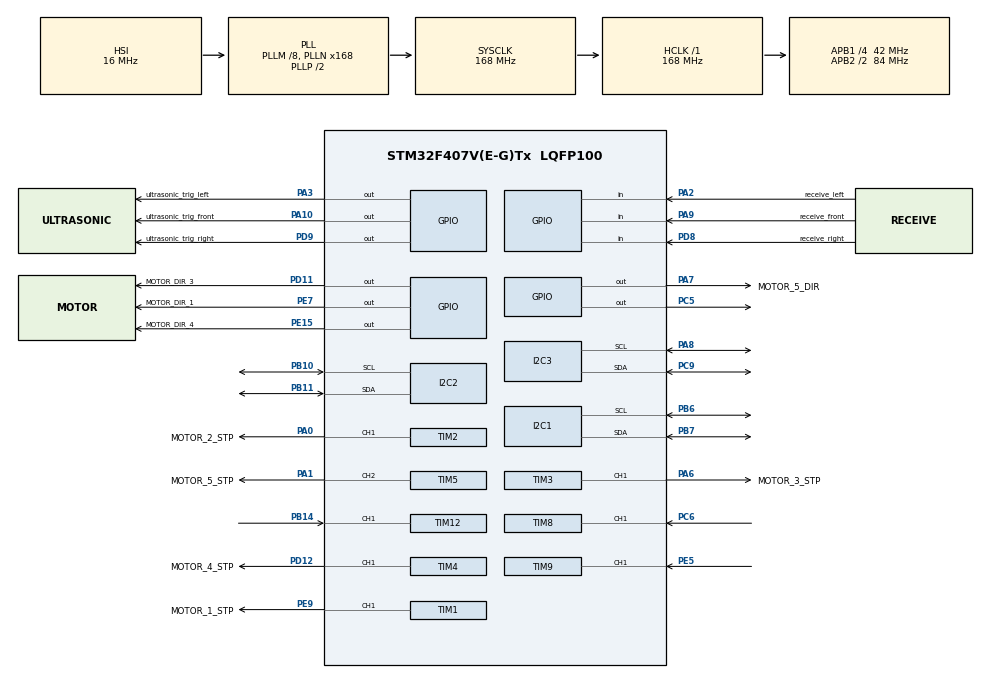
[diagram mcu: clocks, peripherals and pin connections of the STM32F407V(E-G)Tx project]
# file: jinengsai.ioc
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Mcu.Family=STM32F4
Mcu.Name=STM32F407V(E-G)Tx
Mcu.Package=LQFP100
NVIC.PriorityGroup=NVIC_PRIORITYGROUP_4
NVIC.TIM5_IRQn=true\:0\:0\:true\:false\:true\:true\:true\:true
NVIC.TIM6_DAC_IRQn=true\:0\:0\:true\:false\:true\:true\:true\:true
NVIC.TIM7_IRQn=true\:0\:0\:true\:false\:true\:true\:true\:true
PA0-WKUP.GPIO_Label=MOTOR_2_STP
PA0-WKUP.Signal=S_TIM2_CH1_ETR
PA1.GPIO_Label=MOTOR_5_STP
PA1.Signal=S_TIM5_CH2
PA10.GPIO_Label=ultrasonic_trig_front
PA10.Signal=GPIO_Output
PA13.Mode=Serial_Wire
PA13.Signal=SYS_JTMS-SWDIO
PA14.Mode=Serial_Wire
PA14.Signal=SYS_JTCK-SWCLK
PA2.GPIO_Label=receive_left
PA2.Signal=GPIO_Input
PA3.GPIO_Label=ultrasonic_trig_left
PA3.Signal=GPIO_Output
PA6.GPIO_Label=MOTOR_3_STP
PA6.Signal=S_TIM3_CH1
PA7.GPIO_Label=MOTOR_5_DIR
PA7.Signal=GPIO_Output
PA8.Mode=I2C
PA8.Signal=I2C3_SCL
PA9.GPIO_Label=receive_front
PA9.Signal=GPIO_Input
PB10.Mode=I2C
PB10.Signal=I2C2_SCL
PB11.Mode=I2C
PB11.Signal=I2C2_SDA
PB14.Signal=S_TIM12_CH1
PB6.Mode=I2C
PB6.Signal=I2C1_SCL
PB7.Mode=I2C
PB7.Signal=I2C1_SDA
PC5.Signal=GPIO_Output
PC6.Signal=S_TIM8_CH1
PC9.Mode=I2C
PC9.Signal=I2C3_SDA
PD11.GPIO_Label=MOTOR_DIR_3
PD11.Signal=GPIO_Output
PD12.GPIO_Label=MOTOR_4_STP
PD12.Signal=S_TIM4_CH1
PD8.GPIO_Label=receive_right
PD8.Signal=GPIO_Input
PD9.GPIO_Label=ultrasonic_trig_right
PD9.Signal=GPIO_Output
PE15.GPIO_Label=MOTOR_DIR_4
PE15.Signal=GPIO_Output
PE5.Signal=S_TIM9_CH1
PE7.GPIO_Label=MOTOR_DIR_1
PE7.Signal=GPIO_Output
PE9.GPIO_Label=MOTOR_1_STP
PE9.Signal=S_TIM1_CH1
ProjectManager.HeapSize=0x200
ProjectManager.StackSize=0x200
ProjectManager.TargetToolchain=MDK-ARM V5.32
RCC.48MHZClocksFreq_Value=84000000
RCC.AHBFreq_Value=168000000
RCC.APB1CLKDivider=RCC_HCLK_DIV4
RCC.APB1Freq_Value=42000000
RCC.APB1TimFreq_Value=84000000
RCC.APB2CLKDivider=RCC_HCLK_DIV2
RCC.APB2Freq_Value=84000000
RCC.APB2TimFreq_Value=168000000
RCC.CortexFreq_Value=168000000
RCC.HCLKFreq_Value=168000000
RCC.HSE_VALUE=25000000
RCC.HSI_VALUE=16000000
RCC.LSE_VALUE=32768
RCC.PLLM=8
RCC.PLLN=168
RCC.SYSCLKFreq_VALUE=168000000
RCC.SYSCLKSource=RCC_SYSCLKSOURCE_PLLCLK
RCC.VCOOutputFreq_Value=336000000
SH.S_TIM12_CH1.0=TIM12_CH1,Input_Capture1_from_TI1
SH.S_TIM1_CH1.0=TIM1_CH1,PWM Generation1 CH1
SH.S_TIM2_CH1_ETR.0=TIM2_CH1,PWM Generation1 CH1
SH.S_TIM3_CH1.0=TIM3_CH1,PWM Generation1 CH1
SH.S_TIM4_CH1.0=TIM4_CH1,PWM Generation1 CH1
SH.S_TIM5_CH2.0=TIM5_CH2,PWM Generation2 CH2
SH.S_TIM8_CH1.0=TIM8_CH1,Input_Capture1_from_TI1
SH.S_TIM9_CH1.0=TIM9_CH1,Input_Capture1_from_TI1
TIM1.Channel-PWM\ Generation1\ CH1=TIM_CHANNEL_1
TIM1.Period=100-1
TIM1.Prescaler=168-1
TIM12.AutoReloadPreload=TIM_AUTORELOAD_PRELOAD_ENABLE
TIM12.Channel-Input_Capture1_from_TI1=TIM_CHANNEL_1
TIM12.Channel-Input_Capture2_from_TI1_63=TIM_CHANNEL_2
TIM12.ICPolarity_CH2=TIM_INPUTCHANNELPOLARITY_FALLING
TIM12.Prescaler=84-1
TIM2.Channel-PWM\ Generation1\ CH1=TIM_CHANNEL_1
TIM2.Period=100-1
TIM2.Prescaler=84-1
TIM3.Channel-PWM\ Generation1\ CH1=TIM_CHANNEL_1
TIM3.Period=100-1
TIM3.Prescaler=84-1
TIM4.Channel-PWM\ Generation1\ CH1=TIM_CHANNEL_1
TIM4.Period=100-1
TIM4.Prescaler=84-1
TIM5.Channel-PWM\ Generation2\ CH2=TIM_CHANNEL_2
TIM5.Period=100-1
TIM5.Prescaler=84-1
TIM6.Period=10000-1
TIM6.Prescaler=84-1
TIM7.Prescaler=84-1
TIM8.AutoReloadPreload=TIM_AUTORELOAD_PRELOAD_ENABLE
TIM8.Channel-Input_Capture1_from_TI1=TIM_CHANNEL_1
TIM8.Channel-Input_Capture2_from_TI1_63=TIM_CHANNEL_2
TIM8.ICPolarity_CH2=TIM_INPUTCHANNELPOLARITY_FALLING
TIM8.Prescaler=168-1
TIM9.AutoReloadPreload=TIM_AUTORELOAD_PRELOAD_ENABLE
TIM9.Channel-Input_Capture1_from_TI1=TIM_CHANNEL_1
TIM9.Channel-Input_Capture2_from_TI1_63=TIM_CHANNEL_2
TIM9.ICPolarity_CH2=TIM_INPUTCHANNELPOLARITY_FALLING
TIM9.Prescaler=168-1
VP_TIM12_VS_ClockSourceINT.Mode=Internal
VP_TIM12_VS_indirect_ch1.Mode=Input_Capture2_from_TI1_63
VP_TIM1_VS_ClockSourceINT.Mode=Internal
VP_TIM2_VS_ClockSourceINT.Mode=Internal
VP_TIM3_VS_ClockSourceINT.Mode=Internal
VP_TIM4_VS_ClockSourceINT.Mode=Internal
VP_TIM5_VS_ClockSourceINT.Mode=Internal
VP_TIM6_VS_ClockSourceINT.Mode=Enable_Timer
VP_TIM7_VS_ClockSourceINT.Mode=Enable_Timer
VP_TIM8_VS_ClockSourceINT.Mode=Internal
VP_TIM8_VS_indirect_ch1.Mode=Input_Capture2_from_TI1_63
VP_TIM9_VS_ClockSourceINT.Mode=Internal
VP_TIM9_VS_indirect_ch1.Mode=Input_Capture2_from_TI1_63
board=custom

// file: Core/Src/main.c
/* USER CODE BEGIN Header */
/**
 ******************************************************************************
 * @file           : main.c
 * @brief          : Main program body
 ******************************************************************************
 * @attention
 *
 * Copyright (c) 2025 STMicroelectronics.
 * All rights reserved.
 *
 * This software is licensed under terms that can be found in the LICENSE file
 * in the root directory of this software component.
 * If no LICENSE file comes with this software, it is provided AS-IS.
 *
 ******************************************************************************
 */
/* USER CODE END Header */
#include "main.h"
#include "i2c.h"
#include "tim.h"
#include "gpio.h"

/* USER CODE BEGIN PD */
extern uint32_t arm_flag;
float ms = 0;
uint32_t wait_finish = 0;
uint32_t wait_flag = 0;
float wait_sec = 0;
uint32_t arm_num = 0;
float test_angle = 3;

uint32_t timer[] = {0, 0, 0, 0};
uint32_t ii = 0;
TIM_HandleTypeDef *htim[] = {&htim1, &htim2, &htim3, &htim4};
uint32_t Stop_flag[] = {};
uint32_t Stop_All_flag = 0;
float Move_Time[] = {0, 0, 0};

unsigned char Digtal;
unsigned int Sensor_Front[] = {0, 0, 0, 0, 0, 0, 0, 0};
unsigned int Sensor_Right[] = {0, 0, 0, 0, 0, 0, 0, 0};
unsigned int Sensor_Left[] = {0, 0, 0, 0, 0, 0, 0, 0};
unsigned char Sensor_Color[] = {0, 0, 0};
unsigned char Anolog[8] = {0};
unsigned char rx_buff[256] = {0};
unsigned char Normal[8] = {0};

enum Trace_Dir Trace_flag = Forward;
uint32_t flag[] = {0, 0, 0, 0};
float time[] = {2, 2, 2, 2};
int get = 0;
float Car_Speed = CARSPEED;

PID_Typedef Car_pid;

extern volatile uint8_t Obs_index_front;
extern volatile uint8_t Obs_index_left;
extern volatile uint8_t Obs_index_right;

extern volatile float Obs_distance_front;
extern volatile float Obs_distance_left;
extern volatile float Obs_distance_right;
extern volatile uint32_t Obs_buff_front;
extern volatile uint32_t Obs_buff_left;
extern volatile uint32_t Obs_buff_right;
extern volatile uint32_t Obs_data_ready;
extern volatile uint32_t Obs_index;

/* USER CODE END PD */

void SystemClock_Config(void);

int main(void)
{

  /* MCU Configuration--------------------------------------------------------*/

  /* Reset of all peripherals, Initializes the Flash interface and the Systick. */
  HAL_Init();

  /* Configure the system clock */
  SystemClock_Config();

  /* USER CODE BEGIN SysInit */
  HAL_Delay(1000);
  /* USER CODE END SysInit */

  /* Initialize all configured peripherals */
  MX_GPIO_Init();
  MX_I2C1_Init();
  MX_TIM1_Init();
  MX_TIM2_Init();
  MX_TIM3_Init();
  MX_TIM4_Init();
  MX_TIM6_Init();
  MX_I2C2_Init();
  MX_I2C3_Init();
  MX_TIM5_Init();
  MX_TIM7_Init();
  MX_TIM8_Init();
  MX_TIM9_Init();
  MX_TIM12_Init();
  /* USER CODE BEGIN 2 */
  PID_Init(&Car_pid, 0.04, 0.002, 0, 0.7);
  HAL_TIM_PWM_Init(&htim1);
  HAL_TIM_PWM_Init(&htim2);
  HAL_TIM_PWM_Init(&htim3);
  HAL_TIM_PWM_Init(&htim4);
  HAL_TIM_PWM_Init(&htim5);

  HAL_TIM_PWM_Start(&htim1, TIM_CHANNEL_1);
  HAL_TIM_PWM_Start(&htim2, TIM_CHANNEL_1);
  HAL_TIM_PWM_Start(&htim3, TIM_CHANNEL_1);
  HAL_TIM_PWM_Start(&htim4, TIM_CHANNEL_1);
  HAL_TIM_PWM_Start(&htim5, TIM_CHANNEL_2);

  HAL_I2C_MspInit(&hi2c1);
  HAL_I2C_MspInit(&hi2c2);

  Ultrasonic_Init();

  HAL_TIM_Base_Start_IT(&htim5);
  HAL_TIM_Base_Start_IT(&htim6);

  /* USER CODE END 2 */

  /* Infinite loop */
  while (1)
  {

    /* USER CODE BEGIN 3 */

    Get_Sensor(Sensor_Front);
    Get_Sensor(Sensor_Right);
    Get_Sensor(Sensor_Left);
    Get_Front_dis();//获取前方向超声波传感器的值，储存在Obs_distance_front
    Get_Left_dis();//获取左边超声波传感器的值，储存在Obs_distance_left
    Get_right_dis();//获取右边超声波传感器的值，储存在Obs_distance_right
    Obstacle_find();
    //Go(0.2,0,0);
    HAL_Delay(30);
  }
  /* USER CODE END 3 */
}

void SystemClock_Config(void)
{
  RCC_OscInitTypeDef RCC_OscInitStruct = {0};
  RCC_ClkInitTypeDef RCC_ClkInitStruct = {0};

  /** Configure the main internal regulator output voltage
  */
  __HAL_RCC_PWR_CLK_ENABLE();
  __HAL_PWR_VOLTAGESCALING_CONFIG(PWR_REGULATOR_VOLTAGE_SCALE1);

  /** Initializes the RCC Oscillators according to the specified parameters
  * in the RCC_OscInitTypeDef structure.
  */
  RCC_OscInitStruct.OscillatorType = RCC_OSCILLATORTYPE_HSI;
  RCC_OscInitStruct.HSIState = RCC_HSI_ON;
  RCC_OscInitStruct.HSICalibrationValue = RCC_HSICALIBRATION_DEFAULT;
  RCC_OscInitStruct.PLL.PLLState = RCC_PLL_ON;
  RCC_OscInitStruct.PLL.PLLSource = RCC_PLLSOURCE_HSI;
  RCC_OscInitStruct.PLL.PLLM = 8;
  RCC_OscInitStruct.PLL.PLLN = 168;
  RCC_OscInitStruct.PLL.PLLP = RCC_PLLP_DIV2;
  RCC_OscInitStruct.PLL.PLLQ = 4;
  if (HAL_RCC_OscConfig(&RCC_OscInitStruct) != HAL_OK)
  {
    Error_Handler();
  }

  /** Initializes the CPU, AHB and APB buses clocks
  */
  RCC_ClkInitStruct.ClockType = RCC_CLOCKTYPE_HCLK|RCC_CLOCKTYPE_SYSCLK
                              |RCC_CLOCKTYPE_PCLK1|RCC_CLOCKTYPE_PCLK2;
  RCC_ClkInitStruct.SYSCLKSource = RCC_SYSCLKSOURCE_PLLCLK;
  RCC_ClkInitStruct.AHBCLKDivider = RCC_SYSCLK_DIV1;
  RCC_ClkInitStruct.APB1CLKDivider = RCC_HCLK_DIV4;
  RCC_ClkInitStruct.APB2CLKDivider = RCC_HCLK_DIV2;

  if (HAL_RCC_ClockConfig(&RCC_ClkInitStruct, FLASH_LATENCY_5) != HAL_OK)
  {
    Error_Handler();
  }
}

/* USER CODE BEGIN 4 */
int wait_fun(float ms_num)
{
  if (wait_finish == 0)
  {
    wait_finish = 1;
    wait_flag = 1;
    ms = ms_num;
  }
  if (wait_finish == 2)
  {
    wait_finish = 0;
  }
  if (wait_flag == 0)
  {
    return 1;
  }
  else
  {
    return 0;
  }
}

void wait_ms(float ms)
{
  if (wait_flag == 1)
  {
    wait_sec = ms * 100;
  }
}

void HAL_TIM_PeriodElapsedCallback(TIM_HandleTypeDef *htim)
{
  if (htim == &htim5)
  {
    if (arm_flag == 1)
    {
      arm_num++;
    }
  }
}
// 前方向超声波测距
void Get_Front_dis(void)
{
  __HAL_TIM_SET_COUNTER(&htim8, 0);
    __HAL_TIM_CLEAR_FLAG(&htim8, TIM_FLAG_CC1);
    __HAL_TIM_CLEAR_FLAG(&htim8, TIM_FLAG_CC2);

    HAL_TIM_IC_Start(&htim8, TIM_CHANNEL_1);
    HAL_TIM_IC_Start(&htim8, TIM_CHANNEL_2);
    Ultrasonic_Trig_front();

    Obs_index_front = 0;
    uint32_t expireTime = HAL_GetTick() + 50;
    while (expireTime > HAL_GetTick())
    {
      uint32_t CC1Flag = __HAL_TIM_GET_FLAG(&htim8, TIM_FLAG_CC1);
      uint32_t CC2Flag = __HAL_TIM_GET_FLAG(&htim8, TIM_FLAG_CC2);

      if (CC1Flag && CC2Flag)
      {
        Obs_index_front = 1;
        break;
      }
    }

    HAL_TIM_IC_Stop(&htim8, TIM_CHANNEL_1);
    HAL_TIM_IC_Stop(&htim8, TIM_CHANNEL_2);

    if (Obs_index_front == 1)
    {
      uint16_t ccr1 = __HAL_TIM_GET_COMPARE(&htim8, TIM_CHANNEL_1);
      uint16_t ccr2 = __HAL_TIM_GET_COMPARE(&htim8, TIM_CHANNEL_2);

      float pulseWidth = (ccr2 - ccr1)*1e-6f;
      Obs_distance_front = 1000 * 340.0f * pulseWidth / 2.0f;
    }
}
// 左边超声波测距
void Get_Left_dis(void)
{
  __HAL_TIM_SET_COUNTER(&htim9, 0);
    __HAL_TIM_CLEAR_FLAG(&htim9, TIM_FLAG_CC1);
    __HAL_TIM_CLEAR_FLAG(&htim9, TIM_FLAG_CC2);

    HAL_TIM_IC_Start(&htim9, TIM_CHANNEL_1);
    HAL_TIM_IC_Start(&htim9, TIM_CHANNEL_2);
    Ultrasonic_Trig_left();

    Obs_index_left = 0;
    uint32_t expireTime = HAL_GetTick() + 50;
    while (expireTime > HAL_GetTick())
    {
      uint32_t CC1Flag = __HAL_TIM_GET_FLAG(&htim9, TIM_FLAG_CC1);
      uint32_t CC2Flag = __HAL_TIM_GET_FLAG(&htim9, TIM_FLAG_CC2);

      if (CC1Flag && CC2Flag)
      {
        Obs_index_left = 1;
        break;
      }
    }

    HAL_TIM_IC_Stop(&htim9, TIM_CHANNEL_1);
    HAL_TIM_IC_Stop(&htim9, TIM_CHANNEL_2);

    if (Obs_index_left == 1)
    {
      uint16_t ccr1 = __HAL_TIM_GET_COMPARE(&htim9, TIM_CHANNEL_1);
      uint16_t ccr2 = __HAL_TIM_GET_COMPARE(&htim9, TIM_CHANNEL_2);

      float pulseWidth = (ccr2 - ccr1)*1e-6f;
      Obs_distance_left = 1000 * 340.0f * pulseWidth / 2.0f;
    }
}
// 右边超声波测距
void Get_right_dis(void)
{
  __HAL_TIM_SET_COUNTER(&htim12, 0);
    __HAL_TIM_CLEAR_FLAG(&htim12, TIM_FLAG_CC1);
    __HAL_TIM_CLEAR_FLAG(&htim12, TIM_FLAG_CC2);

    HAL_TIM_IC_Start(&htim12, TIM_CHANNEL_1);
    HAL_TIM_IC_Start(&htim12, TIM_CHANNEL_2);
    Ultrasonic_Trig_right();

    Obs_index_left = 0;
    uint32_t expireTime = HAL_GetTick() + 50;
    while (expireTime > HAL_GetTick())
    {
      uint32_t CC1Flag = __HAL_TIM_GET_FLAG(&htim12, TIM_FLAG_CC1);
      uint32_t CC2Flag = __HAL_TIM_GET_FLAG(&htim12, TIM_FLAG_CC2);

      if (CC1Flag && CC2Flag)
      {
        Obs_index_left = 1;
        break;
      }
    }

    HAL_TIM_IC_Stop(&htim12, TIM_CHANNEL_1);
    HAL_TIM_IC_Stop(&htim12, TIM_CHANNEL_2);

    if (Obs_index_left == 1)
    {
      uint16_t ccr1 = __HAL_TIM_GET_COMPARE(&htim12, TIM_CHANNEL_1);
      uint16_t ccr2 = __HAL_TIM_GET_COMPARE(&htim12, TIM_CHANNEL_2);

      float pulseWidth = (ccr2 - ccr1)*1e-6f;
      Obs_distance_right = 1000 * 340.0f * pulseWidth / 2.0f;
    }
}
/* USER CODE END 4 */

void Error_Handler(void)
{
  __disable_irq();
  while (1)
  {
  }
}
